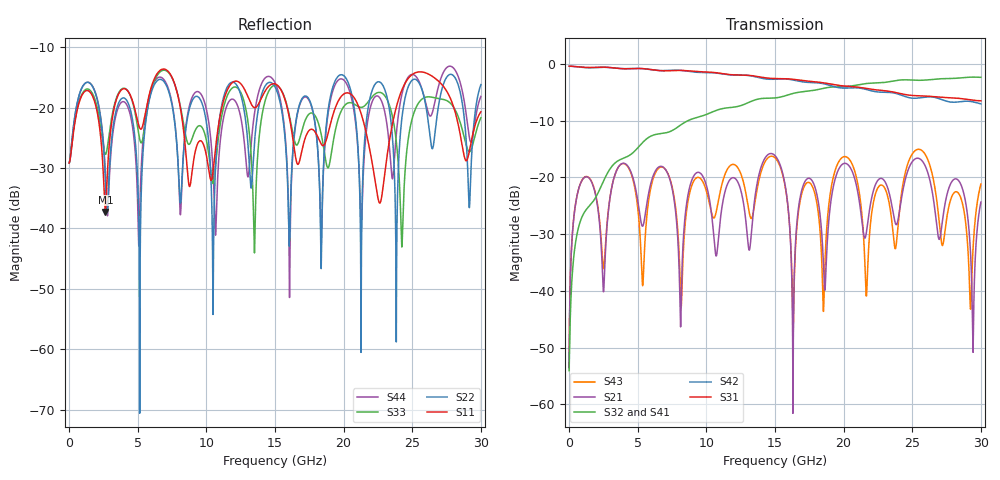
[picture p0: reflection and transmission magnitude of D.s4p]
!diffpair-meanders D (U-bend, dense accordion (4 excursions) next to the bend), mesh coarse
!ports 1 P_near 2 N_near 3 P_far 4 N_far; openEMS FDTD, lumped 50 ohm ports
# Hz S RI R 50.0
! Port[1] = P_near
! Port[2] = N_near
! Port[3] = P_far
! Port[4] = N_far
!freq ReS11 ImS11 ReS12 ImS12 ReS13 ImS13
! ReS14 ImS14
! ReS21 ImS21 ReS22 ImS22 ReS23 ImS23
! ReS24 ImS24
! ReS31 ImS31 ReS32 ImS32 ReS33 ImS33
! ReS34 ImS34
! ReS41 ImS41 ReS42 ImS42 ReS43 ImS43
! ReS44 ImS44
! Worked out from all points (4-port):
!   3000 points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, 10 MHz to 30 GHz, reference 50 ohm
!   strongest paths, dB at 10 MHz, 7.51 GHz, 15.01 GHz, 22.51 GHz, 30 GHz:
!     S31: -0.4, -1.2, -2.6, -4.6, -6.5
!     S42: -0.4, -1.1, -2.7, -5.0, -7.1
!     S32: -54.0, -11.8, -6.0, -3.4, -2.4
!     S41: -54.1, -11.9, -6.1, -3.3, -2.4
!     S21: -53.5, -21.9, -16.2, -20.5, -24.4
!     S43: -53.5, -21.6, -16.6, -21.8, -21.2
!   lowest |S11| = -37.3 dB at 2.65 GHz (marker M1), VSWR 1.03, Z = 48.7 - j0.287 ohm
!   |S11| at or under -10 dB: start of sweep to end of sweep
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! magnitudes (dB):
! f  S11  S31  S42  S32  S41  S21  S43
! 10 MHz  -29.1  -0.4  -0.4  -54.0  -54.1  -53.5  -53.5
! 900 MHz  -18.1  -0.6  -0.6  -27.3  -27.3  -20.7  -20.7
! 2.65 GHz  -37.3  -0.6  -0.6  -20.0  -20.0  -33.4  -32.3
! 6.82 GHz  -13.6  -1.2  -1.2  -12.3  -12.4  -18.1  -18.2
! 10.49 GHz  -30.6  -1.5  -1.6  -8.4  -8.5  -28.8  -27.0
! 11.81 GHz  -16.0  -1.9  -2.0  -7.7  -7.6  -20.2  -17.8
! 30 GHz  -20.7  -6.5  -7.1  -2.4  -2.4  -24.4  -21.2
